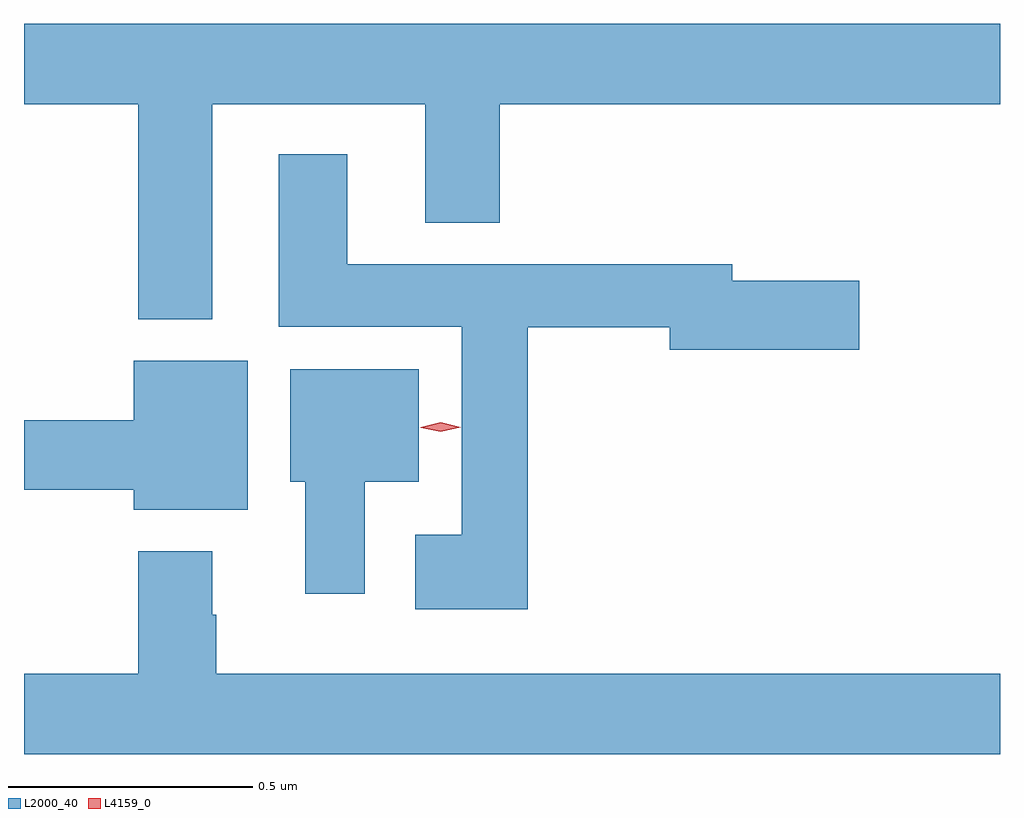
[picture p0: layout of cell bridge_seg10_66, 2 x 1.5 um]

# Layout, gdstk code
import gdstk
lib = gdstk.Library(unit=1e-6, precision=1e-09)
def P(c, l, *ps):  # polygons
    for p in ps: c.add(gdstk.Polygon(p, *l))
L2000_40 = (2000, 40)
L4159_0 = (4159, 0)

bridge_seg10_66 = lib.new_cell('bridge_seg10_66')
P(bridge_seg10_66, L2000_40, [(808.873,1286.996),(809.309,1286.996),(809.309,1286.753),(809.462,1286.753),(809.462,1286.996),(810.487,1286.996),(810.487,1287.16),(808.487,1287.16),(808.487,1286.996),(808.721,1286.996),(808.721,1286.555),(808.873,1286.555)],
  [(809.519,1286.539),(809.81,1286.539),(809.81,1286.492),(810.199,1286.492),(810.199,1286.634),(809.938,1286.634),(809.938,1286.668),(809.149,1286.668),(809.149,1286.893),(809.009,1286.893),(809.009,1286.54),(809.384,1286.54),(809.384,1286.113),(809.289,1286.113),(809.289,1285.961),(809.519,1285.961)],
  [(808.945,1286.47),(808.712,1286.47),(808.712,1286.348),(808.487,1286.348),(808.487,1286.206),(808.712,1286.206),(808.712,1286.165),(808.945,1286.165)],
  [(809.185,1286.222),(809.296,1286.222),(809.296,1286.452),(809.033,1286.452),(809.033,1286.222),(809.063,1286.222),(809.063,1285.992),(809.185,1285.992)],
  [(810.487,1285.828),(808.881,1285.828),(808.881,1285.949),(808.873,1285.949),(808.873,1286.08),(808.721,1286.08),(808.721,1285.828),(808.487,1285.828),(808.487,1285.664),(810.487,1285.664)])
P(bridge_seg10_66, L4159_0, [(809.341,1286.324),(809.3,1286.333),(809.3,1286.334),(809.3,1286.334),(809.341,1286.344),(809.382,1286.334),(809.382,1286.334),(809.382,1286.334)])

lib.write_gds('bridge_seg10_66.gds')
